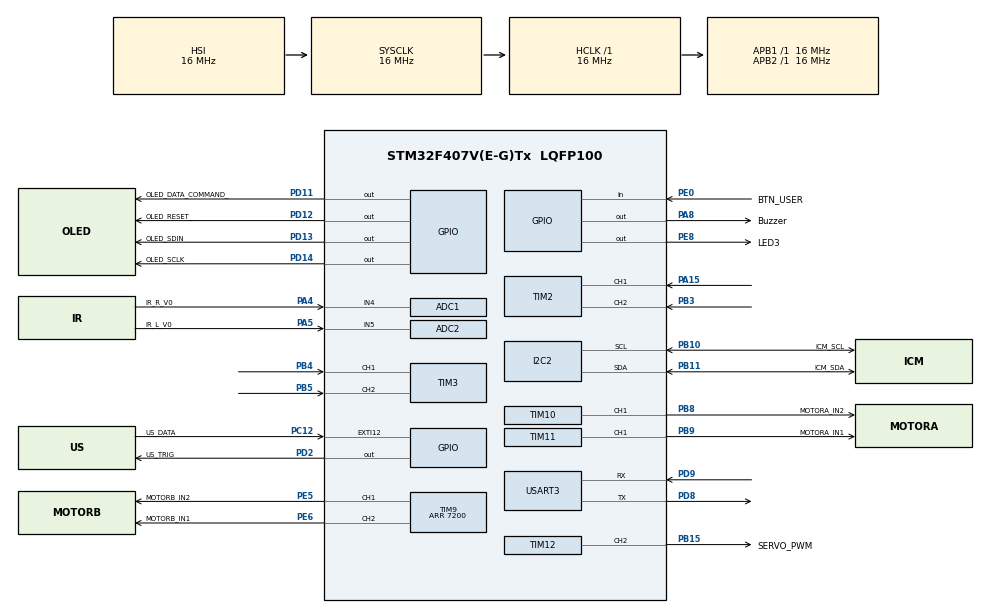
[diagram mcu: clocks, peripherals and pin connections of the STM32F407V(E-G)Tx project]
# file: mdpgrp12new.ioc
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ADC1.Channel-0\#ChannelRegularConversion=ADC_CHANNEL_4
ADC1.NbrOfConversionFlag=1
ADC1.Rank-0\#ChannelRegularConversion=1
ADC1.SamplingTime-0\#ChannelRegularConversion=ADC_SAMPLETIME_3CYCLES
ADC1.master=1
ADC2.Channel-0\#ChannelRegularConversion=ADC_CHANNEL_5
ADC2.NbrOfConversionFlag=1
ADC2.Rank-0\#ChannelRegularConversion=1
ADC2.SamplingTime-0\#ChannelRegularConversion=ADC_SAMPLETIME_3CYCLES
Mcu.Family=STM32F4
Mcu.Name=STM32F407V(E-G)Tx
Mcu.Package=LQFP100
NVIC.ADC_IRQn=true\:0\:0\:false\:false\:true\:true\:true\:true
NVIC.EXTI15_10_IRQn=true\:0\:0\:false\:false\:true\:true\:true\:true
NVIC.PriorityGroup=NVIC_PRIORITYGROUP_4
NVIC.TIM7_IRQn=true\:0\:0\:false\:false\:true\:true\:true\:true
NVIC.USART3_IRQn=true\:0\:0\:false\:false\:true\:true\:true\:true
PA13.Signal=SYS_JTMS-SWDIO
PA14.Signal=SYS_JTCK-SWCLK
PA15.Signal=S_TIM2_CH1_ETR
PA4.GPIO_Label=IR_R_V0
PA4.Signal=ADCx_IN4
PA5.GPIO_Label=IR_L_V0
PA5.Signal=ADCx_IN5
PA8.GPIO_Label=Buzzer
PA8.Signal=GPIO_Output
PB10.GPIO_Label=ICM_SCL
PB10.Mode=I2C
PB10.Signal=I2C2_SCL
PB11.GPIO_Label=ICM_SDA
PB11.Mode=I2C
PB11.Signal=I2C2_SDA
PB15.GPIO_Label=SERVO_PWM
PB15.GPIO_Speed=GPIO_SPEED_FREQ_HIGH
PB15.Signal=S_TIM12_CH2
PB3.Signal=S_TIM2_CH2
PB4.GPIO_PuPd=GPIO_PULLUP
PB4.GPIO_Speed=GPIO_SPEED_FREQ_HIGH
PB4.Signal=S_TIM3_CH1
PB5.GPIO_PuPd=GPIO_PULLUP
PB5.GPIO_Speed=GPIO_SPEED_FREQ_HIGH
PB5.Signal=S_TIM3_CH2
PB8.GPIO_Label=MOTORA_IN2
PB8.GPIO_Speed=GPIO_SPEED_FREQ_HIGH
PB8.Signal=S_TIM10_CH1
PB9.GPIO_Label=MOTORA_IN1
PB9.GPIO_Speed=GPIO_SPEED_FREQ_HIGH
PB9.Signal=S_TIM11_CH1
PC12.GPIO_Label=US_DATA
PC12.GPIO_ModeDefaultEXTI=GPIO_MODE_IT_RISING_FALLING
PC12.GPIO_PuPd=GPIO_PULLDOWN
PC12.Signal=GPXTI12
PD11.GPIO_Label=OLED_DATA_COMMAND_
PD11.Signal=GPIO_Output
PD12.GPIO_Label=OLED_RESET_
PD12.Signal=GPIO_Output
PD13.GPIO_Label=OLED_SDIN
PD13.Signal=GPIO_Output
PD14.GPIO_Label=OLED_SCLK
PD14.Signal=GPIO_Output
PD2.GPIO_Label=US_TRIG
PD2.Signal=GPIO_Output
PD8.GPIO_PuPd=GPIO_NOPULL
PD8.GPIO_Speed=GPIO_SPEED_FREQ_HIGH
PD8.Mode=Asynchronous
PD8.Signal=USART3_TX
PD9.GPIO_ModeDefaultPP=GPIO_MODE_AF_PP
PD9.GPIO_Speed=GPIO_SPEED_FREQ_HIGH
PD9.Mode=Asynchronous
PD9.Signal=USART3_RX
PE0.GPIO_Label=BTN_USER
PE0.Signal=GPIO_Input
PE5.GPIO_Label=MOTORB_IN2
PE5.GPIO_Speed=GPIO_SPEED_FREQ_HIGH
PE5.Signal=S_TIM9_CH1
PE6.GPIO_Label=MOTORB_IN1
PE6.GPIO_Speed=GPIO_SPEED_FREQ_HIGH
PE6.Signal=S_TIM9_CH2
PE8.GPIO_Label=LED3
PE8.Signal=GPIO_Output
PE9.Signal=S_TIM1_CH1
ProjectManager.HeapSize=0x200
ProjectManager.StackSize=0x400
ProjectManager.TargetToolchain=STM32CubeIDE
RCC.AHBFreq_Value=16000000
RCC.APB1Freq_Value=16000000
RCC.APB2Freq_Value=16000000
RCC.CortexFreq_Value=16000000
RCC.HSE_VALUE=25000000
RCC.HSI_VALUE=16000000
RCC.LSE_VALUE=32768
RCC.SYSCLKFreq_VALUE=16000000
RCC.VCOOutputFreq_Value=192000000
SH.ADCx_IN4.0=ADC1_IN4,IN4
SH.ADCx_IN5.0=ADC2_IN5,IN5
SH.S_TIM10_CH1.0=TIM10_CH1,PWM Generation1 CH1
SH.S_TIM11_CH1.0=TIM11_CH1,PWM Generation1 CH1
SH.S_TIM12_CH2.0=TIM12_CH2,PWM Generation2 CH2
SH.S_TIM1_CH1.0=TIM1_CH1
SH.S_TIM2_CH1_ETR.0=TIM2_CH1,Encoder_Interface
SH.S_TIM2_CH2.0=TIM2_CH2,Encoder_Interface
SH.S_TIM3_CH1.0=TIM3_CH1,Encoder_Interface
SH.S_TIM3_CH2.0=TIM3_CH2,Encoder_Interface
SH.S_TIM9_CH1.0=TIM9_CH1,PWM Generation1 CH1
SH.S_TIM9_CH2.0=TIM9_CH2,PWM Generation2 CH2
TIM1.AutoReloadPreload=TIM_AUTORELOAD_PRELOAD_ENABLE
TIM1.Period=1000
TIM1.Prescaler=16
TIM10.Channel=TIM_CHANNEL_1
TIM10.Period=7200
TIM11.Channel=TIM_CHANNEL_1
TIM11.Period=7200
TIM12.AutoReloadPreload=TIM_AUTORELOAD_PRELOAD_ENABLE
TIM12.Channel-PWM\ Generation2\ CH2=TIM_CHANNEL_2
TIM12.Period=65535
TIM12.Prescaler=4
TIM2.EncoderMode=TIM_ENCODERMODE_TI12
TIM2.IC1Filter=10
TIM2.IC2Filter=10
TIM2.IC2Polarity=TIM_ICPOLARITY_RISING
TIM3.EncoderMode=TIM_ENCODERMODE_TI12
TIM3.IC1Filter=10
TIM3.IC2Filter=10
TIM3.IC2Polarity=TIM_ICPOLARITY_FALLING
TIM9.Channel-PWM\ Generation1\ CH1=TIM_CHANNEL_1
TIM9.Channel-PWM\ Generation2\ CH2=TIM_CHANNEL_2
TIM9.Period=7200
USART3.VirtualMode=VM_ASYNC
VP_TIM10_VS_ClockSourceINT.Mode=Enable_Timer
VP_TIM11_VS_ClockSourceINT.Mode=Enable_Timer
VP_TIM12_VS_ClockSourceINT.Mode=Internal
VP_TIM1_VS_ClockSourceINT.Mode=Internal
VP_TIM6_VS_ClockSourceINT.Mode=Enable_Timer
VP_TIM7_VS_ClockSourceINT.Mode=Enable_Timer
VP_TIM9_VS_ClockSourceINT.Mode=Internal
board=custom

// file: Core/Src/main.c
/* USER CODE BEGIN Header */
/**
  ******************************************************************************
  * @file           : main.c
  * @brief          : Main program body
  ******************************************************************************
  * @attention
  *
  * Copyright (c) 2024 STMicroelectronics.
  * All rights reserved.
  *
  * This software is licensed under terms that can be found in the LICENSE file
  * in the root directory of this software component.
  * If no LICENSE file comes with this software, it is provided AS-IS.
  *
  ******************************************************************************
  */
/* USER CODE END Header */
#include "main.h"

/* USER CODE BEGIN Includes */
#include <stdlib.h>
#include <math.h>
#include "convert.h"
#include "commands.h"
#include "dist.h"
#include "angle.h"
#include "delay_us.h"
#include "oled.h"
#include "sensors.h"
#include "motor.h"
#include "servo.h"
#include "stdio.h"
#include "string.h"
#include "ICM20948_SelfTest.h"
#include "tim6_pulse_capt.h"
#include "sensor_test.h"
/* USER CODE END Includes */

/* USER CODE BEGIN PD */
//8MHz / 16000 = 2.0ms frame.
#define MS_FRAME 2.0f
#define SERIAL_BUF_SIZE 20
#define SERIAL_RING_SIZE 1000
#define DIST_DIFF_DEFAULT 50
#define BRAKE_SPEED 30
#define TICKS_ES_MAX 10
#define V_MAX_PHYS_CM_S   200.0f

#define A_BRAKE_CM_S2     120.0f   // effective decel when short-braking
#define TAU_LATENCY_S       0.08f  // loop + actuation latency
#define BRAKE_MARGIN_CM      2.0f  // safety buffer

// TEMP fix for odometry scale from your data; refine later in get_distance_cm()
#define ODOM_SCALE           1.00f
/* USER CODE END PD */

 ADC_HandleTypeDef hadc1;
ADC_HandleTypeDef hadc2;

I2C_HandleTypeDef hi2c2;

TIM_HandleTypeDef htim1;
TIM_HandleTypeDef htim2;
TIM_HandleTypeDef htim3;
TIM_HandleTypeDef htim6;
TIM_HandleTypeDef htim7;
TIM_HandleTypeDef htim9;
TIM_HandleTypeDef htim10;
TIM_HandleTypeDef htim11;
TIM_HandleTypeDef htim12;

UART_HandleTypeDef huart3;

/* USER CODE BEGIN PV */
//sensors variables.
Sensors sensors;
MagCalParams magCalParams;

//serial buffers.
volatile uint16_t ring_i = 0, track_i = 0;
uint16_t buf_i = 0;

uint8_t buf_serial[SERIAL_BUF_SIZE];
uint8_t ring_serial[SERIAL_RING_SIZE];

uint8_t rxByte;                    // GLOBAL 1-byte RX buffer
char    cmdBuf[64];
uint16_t cmdLen = 0;

volatile uint32_t rx_isr_hits = 0; // debug counter

//ultrasound pulse width measurement.
volatile uint8_t isRisingCaptured = 0;
volatile uint16_t usWrap = 0;
volatile uint32_t counter;
volatile float    usDist_raw_cm = 0.0f;
volatile uint16_t usStartTick6 = 0;

//straight line motion
static uint8_t speedPrimed = 0;
static uint8_t odomPrimed = 0;
static float   speedFilt   = 0.0f;
static float   speedRaw    = 0.0f;
float estDist     = 0.0f;   // moved out of main()
float estDistOld  = 0.0f;
//paced loop.
volatile uint8_t newTick = 0;
volatile uint32_t tim7_hits = 0;
/* USER CODE END PV */

void SystemClock_Config(void);
static void MX_GPIO_Init(void);
static void MX_USART3_UART_Init(void);
static void MX_TIM1_Init(void);
static void MX_TIM2_Init(void);
static void MX_TIM12_Init(void);
static void MX_ADC1_Init(void);
static void MX_ADC2_Init(void);
static void MX_I2C2_Init(void);
static void MX_TIM6_Init(void);
static void MX_TIM7_Init(void);
static void MX_TIM3_Init(void);
static void MX_TIM9_Init(void);
static void MX_TIM10_Init(void);
static void MX_TIM11_Init(void);

/* USER CODE BEGIN 0 */

//increment index in a ring.
static void serial_inc_ring(volatile uint16_t *i) {
	*i = (*i + 1) % SERIAL_RING_SIZE;
}

//serial in.
void HAL_UART_RxCpltCallback(UART_HandleTypeDef *huart)
{
    if (huart->Instance == USART3) {
    	ring_serial[ring_i] = rxByte;
        ring_i = (ring_i + 1) % SERIAL_RING_SIZE;
        rx_isr_hits++;  // debug: count ISR fires
        HAL_UART_Receive_IT(&huart3, &rxByte, 1); // re-arm
    }
}

/* --- Start: Timer Management --- */
void HAL_TIM_PeriodElapsedCallback(TIM_HandleTypeDef *htim) {
//	if (htim == &htim5) { //tim4
//		usWrap++;
//	}

	if (htim == &htim7) {
        tim7_hits++;
		newTick = 1;
	}
}

void HAL_TIM_IC_CaptureCallback(TIM_HandleTypeDef *htim) {
    //if (htim != &htim5) return;

    if (!isRisingCaptured) {
        // RISING
        usCaptureComplete = 0;
        usWrap = 0;                              // only if ARR=65535
        __HAL_TIM_SET_COUNTER(htim, 0);
        isRisingCaptured = 1;
        __HAL_TIM_SET_CAPTUREPOLARITY(htim, US_IC_CHANNEL, TIM_INPUTCHANNELPOLARITY_FALLING);
    } else {
        // FALLING
        uint32_t cnt = HAL_TIM_ReadCapturedValue(htim, US_IC_CHANNEL);
        cnt += (uint32_t)usWrap * 65536U;        // only if ARR=65535
        usPulse_us = cnt;                        // 1 tick = 1 µs (PSC=15 on 16 MHz)
        usDist_raw_cm = (float)usPulse_us / 58.0f;
        lastEchoMs = HAL_GetTick();
        usCaptureComplete = 1;

        // keep your filtered value too, but don't use it for stop threshold
        sensors_read_usDist((float)cnt * 1e-6f);

        isRisingCaptured = 0;
        __HAL_TIM_SET_CAPTUREPOLARITY(htim, US_IC_CHANNEL, TIM_INPUTCHANNELPOLARITY_RISING);

        usCaptureComplete = 1;
    }
}

void encoders_zero(void) {
    __HAL_TIM_SET_COUNTER(&htim2, 0);
    __HAL_TIM_SET_COUNTER(&htim3, 0);
}

void odom_reset_all(void) {
	encoders_zero();

	(void)motor_getDist();

    dist_reset(0.0f);

    estDist     = 0.0f;   // now writing the global
    estDistOld  = 0.0f;

    speedPrimed = 0;
    speedFilt   = 0.0f;
    speedRaw    = 0.0f;

    const char *msg = "ODOM_RESET\r\n";
    HAL_UART_Transmit(&huart3, (uint8_t*)msg, strlen(msg), 10);
}

void TIM6_Set1MHz(void)
{
  uint32_t timclk = HAL_RCC_GetPCLK1Freq();
  if ((RCC->CFGR & RCC_CFGR_PPRE1) != RCC_CFGR_PPRE1_DIV1) timclk *= 2U;

  uint32_t psc = (timclk / 1000000U) - 1U;

  __HAL_TIM_DISABLE(&htim6);
  __HAL_TIM_SET_PRESCALER(&htim6, (uint16_t)psc);
  __HAL_TIM_SET_AUTORELOAD(&htim6, 65535);
  __HAL_TIM_SET_COUNTER(&htim6, 0);
  __HAL_TIM_CLEAR_FLAG(&htim6, TIM_FLAG_UPDATE);
  __HAL_TIM_ENABLE(&htim6);
}

/* --- Start: Debug  --- */
void dump_tim8_regs(void)
{
    char buf[160];
    int n = snprintf(buf, sizeof(buf),
        "ARR=%lu CCR1=%lu CCR3=%lu BDTR=0x%08lX CCER=0x%08lX CR1=0x%08lX CCMR1=0x%08lX CCMR2=0x%08lX\r\n",
        TIM8->ARR, TIM8->CCR1, TIM8->CCR3, TIM8->BDTR, TIM8->CCER, TIM8->CR1, TIM8->CCMR1, TIM8->CCMR2);

    if (n > 0) {
        if (n > (int)sizeof(buf)) n = sizeof(buf);   // clamp just in case
        HAL_UART_Transmit(&huart3, (uint8_t*)buf, (uint16_t)n, 100);
    }
}

void test_gyro_raw(void) {
    float gz = 0;
    read_gyroZ(&gz);   // your low-level driver
    char buf[64];
    snprintf(buf, sizeof(buf), "gyroZ raw=%.2f dps\r\n", gz);
    HAL_UART_Transmit(&huart3, (uint8_t*)buf, strlen(buf), 10);
}

static inline int32_t enc_read_L(void) { return (int32_t)__HAL_TIM_GET_COUNTER(&htim2); }
static inline int32_t enc_read_R(void) { return (int32_t)__HAL_TIM_GET_COUNTER(&htim3); }
static inline void    enc_zero(void)   { __HAL_TIM_SET_COUNTER(&htim2, 0); __HAL_TIM_SET_COUNTER(&htim3, 0); }

static void print_enc_once(void) {
    char buf[96];
    int n = snprintf(buf, sizeof buf, "ENC L=%ld R=%ld\r\n",
                     (long)enc_read_L(), (long)enc_read_R());
    HAL_UART_Transmit(&huart3, (uint8_t*)buf, (uint16_t)n, 20);
}

/* --- End: Debug --- */

/* USER CODE END 0 */

int main(void)
{

  /* MCU Configuration--------------------------------------------------------*/

  /* Reset of all peripherals, Initializes the Flash interface and the Systick. */
  HAL_Init();

  /* Configure the system clock */
  SystemClock_Config();

  /* Initialize all configured peripherals */
  MX_GPIO_Init();
  MX_USART3_UART_Init();
  MX_TIM1_Init();
  MX_TIM2_Init();
  MX_TIM12_Init();
  MX_ADC1_Init();
  MX_ADC2_Init();
  MX_I2C2_Init();
  MX_TIM6_Init();
  MX_TIM7_Init();
  MX_TIM3_Init();
  MX_TIM9_Init();
  MX_TIM10_Init();
  MX_TIM11_Init();
  /* USER CODE BEGIN 2 */

  /* ----- Start: Initialize libraries ----- */
  OLED_Init();												//initialize OLED display.
  magcal_init(&hi2c2, &magCalParams);						//initialize magnetometer calibration.
  sensors_init(&hi2c2, &hadc1, &hadc2, &sensors); 	//initialize motion sensors.
  motor_init(&htim2, &htim3); 						//initialize motor PWM and encoders.
  servo_init(&htim12); 										//initialize servo PWM.
  delay_us_init(&htim6);									//initialize us timer.
  dist_init();												//initialize distance tracking.
  us_pulse_capture_init();
  TIM6_Set1MHz();
  /* ----- End: Initialize libraries ----- */

  /* ----- Start: Car setup ----- */
  //magcal_calc_params();

  //reset car.
  servo_setAngle(0);
  motor_setDrive(0, 0);

  OLED_ShowString(0, 0, "Press USER when ready...");
  OLED_Refresh_Gram();
  while (!user_is_pressed());	//wait for user to place car.
  HAL_Delay(500);
  OLED_Clear();
  OLED_ShowString(0, 0, "Calibrating...");
  OLED_Refresh_Gram();

  sensors_set_bias(500); 		// set initial bias.

  OLED_ShowString(0, 0, "Calibration done.");
  OLED_Refresh_Gram();

  /* ----- End: Car setup ----- */

  /* ----- Start: OS Parameters ----- */

  //ticking for longer timing requirements for ultrasound, and servo turning.
  uint8_t ticksElapsed = 0,
		  ticksUsElapsed = 0,
		  ticksUs = (uint8_t) (US_MIN_DELAY / MS_FRAME) + 1,
		  ticksServo = (uint8_t) (SERVO_TURN_PERIOD / MS_FRAME),
		  ticksServoFull = (uint8_t) (SERVO_TURN_PERIOD * SERVO_WIDTH / SERVO_TURN_STEP) / MS_FRAME,
		  ticksMotor = (uint8_t) (MOTOR_CORRECTION_PERIOD / MS_FRAME),
		  ticksRefresh = lcm_uint8(lcm_uint8(ticksUs, ticksServo), ticksMotor),
		  ticksDelay = ticksServoFull - 1;

  //ticking for error stabilization.
  uint8_t ticksES = 0;

  Command *cmd = NULL;							//current command.
  float steeringAngle = 0;						//current steering angle.
  float motorDist = 0,estAngle  = 0; 						//distance estimations.

  //for distance tracking (for use with INFO_DIST command).
  float distTrack = 0;
  volatile uint8_t shouldTrackDist = 0;

  float distTarget = 0;							//decide distance target.
  float distDiff = 0, brakingDist = 0; 			//current distance difference.
  float distDiffOld = 0;						//track old distance difference (to see if stationary).
  float wDiff = 0, wTarget = 0;					//current angular velocity difference and target.
  float rBack = 0, rRobot = 0;					//turning radii at the back and centre of robot.
  /* ----- End: OS Parameters ----- */

  /* ----- Start: Interrupts ----- */
  //HAL_UART_Receive_IT(&huart3, &ring_serial[ring_i], 1);	//start receiving serial.
  HAL_UART_Receive_IT(&huart3, &rxByte, 1);

  // 3) Start the timer *with* interrupt
  HAL_TIM_Base_Start_IT(&htim7); //start paced loop timer.
  // tim5 ic no longer used for ultrasonic (using exti on pc12)
  //HAL_TIM_Base_Start_IT(&htim5);                  // for update/overflow -> usWrap++
  // HAL_TIM_IC_Start_IT(&htim5, TIM_CHANNEL_1);     // for captures on CH1
  /* ----- End: Interrupts ----- */

  OLED_Clear();
  OLED_ShowString(0, 0, "Active.");
  OLED_Refresh_Gram();

  const char *alive = "ALIVE\r\n";
  HAL_UART_Transmit(&huart3, (uint8_t*)alive, strlen(alive), 10);

  //  	if (cmd == NULL && !(ticksElapsed % 50)) {
  //  	    uint32_t age_ms = HAL_GetTick() - lastEchoMs;  // how fresh the last echo is
  //  	    char line[120];
  //  	    int n = snprintf(line, sizeof line,
  //  	        "US | raw=%.1f cm | filt=%.1f cm | age=%lums | pulse=%lu us\r\n",
  //  	        usDist_raw_cm,          // from TIM5 capture ISR
  //  	        sensors.usDist,         // filtered distance
  //  	        (unsigned long)age_ms,
  //  	        (unsigned long)usPulse_us);
  //  	    HAL_UART_Transmit(&huart3, (uint8_t*)line, n, 10);
  //  	}

  /* USER CODE END 2 */

  /* Infinite loop */
  /* USER CODE BEGIN WHILE */

//  static uint32_t last_ms = 0;
//  while (1) {
//	  uint32_t now = HAL_GetTick();
//	  if (now - last_ms >= 1000) {
//	      last_ms = now;
//	      print_enc_once();  // turn either wheel by hand and watch R change
//	  }
//  }

  while (1)
      {
    /* USER CODE END WHILE */

    /* USER CODE BEGIN 3 */

    	/* ----- Start: Sensor reading ----- */
    	//trigger distance measurement.
    	if (!(ticksElapsed % ticksUs)) {
    		sensors_us_trig();
    	}

    	sensors_read_accel();
    	sensors_read_gyroZ();
    	sensors_read_irDist();

    	/* ----- End: Sensor reading ----- */

    	/* ----- Start: Get next command (if any) ----- */

    	// 0) Always drain ticksDelay if we're idle (no active cmd)
    	if (cmd == NULL && ticksDelay > 0) {
    	    ticksDelay--;
    	}

    	if (cmd == NULL) {
    	    // Peek at the ring buffer queue
    	    Command *peek = commands_peek();

    	    // 1) If delay done OR next thing is not a DRIVE, pop
    	    if (ticksDelay == 0 || (peek != NULL && peek->opType != DRIVE)) {

    	        cmd = commands_pop();
    	        if (cmd != NULL) {
    	            // ----- Command setup -----
    	            switch (cmd->opType) {
    	            case DRIVE:
    	                motor_setDrive(cmd->dir, cmd->speed);
    	                if (cmd->dir != 0) {
    	                    odom_reset_all();

    	                    distTarget  = cmd->val;
    	                    distDiff    = DIST_DIFF_DEFAULT;
    	                    brakingDist = (cmd->distType == TARGET
    	                                   ? MOTOR_BRAKING_DIST_CM_TARGET
    	                                   : MOTOR_BRAKING_DIST_CM_AWAY) * cmd->speed / 100.0f;

    	                    steeringAngle = cmd->steeringAngle;
    	                    servo_setAngle(steeringAngle);

    	                    if (steeringAngle != 0) {
    	                        rBack  = get_turning_r_back_cm(steeringAngle);
    	                        rRobot = get_turning_r_robot_cm(steeringAngle);
    	                        if (cmd->distType == TARGET) {
    	                            distTarget = abs_float(get_arc_length(cmd->val, rBack));
    	                        }
    	                    } else {
    	                        rBack = 0.0f; rRobot = 0.0f; wTarget = 0.0f;
    	                    }
    	                } else {
    	                    commands_end(&huart3, cmd);
    	                    cmd = NULL;
    	                }
    	                break;

    	            case INFO_DIST:
    	                shouldTrackDist = !shouldTrackDist;
    	                if (shouldTrackDist) {
    	                    distTrack = 0;
    	                } else {
    	                    free(cmd->str);
    	                    cmd->str_size = 9;
    	                    cmd->str = malloc(cmd->str_size);
    	                    snprintf(cmd->str, cmd->str_size, "D%6.2f\n", distTrack);
    	                }
    	                commands_end(&huart3, cmd);
    	                cmd = NULL;
    	                break;

    	            case INFO_MARKER:
    	                commands_end(&huart3, cmd);
    	                cmd = NULL;
    	                break;
    	            }
    	        }

    	    } else {
    	        // 2) Delay still running: optionally pre-position servo for the next DRIVE,
    	        //    but ALWAYS drain ticksDelay each loop regardless of queue state
    	        Command *nxt = commands_peek_next_drive();
    	        if (nxt != NULL) {
    	            servo_setAngle(nxt->steeringAngle);
    	        }
    	        if (ticksDelay > 0) ticksDelay--;
    	    }
    	}
    	/* ----- End: Get next command (if any) ----- */

    	/* ----- Start: Command Control Loop ----- */
    		if (cmd != NULL && cmd->dir != 0) {
    			//reset the values
    			if (!odomPrimed) {
    			    (void)motor_getDist();   // consume any residual delta
    			    dist_reset(0.0f);
    			    estDist = estDistOld = 0.0f;
    			    speedPrimed = 0;
    			    speedFilt = speedRaw = 0.0f;
    				odomPrimed = 1;
    			}

    			// --- Distance & speed (do NOT multiply position by cmd->dir) ---
    			motorDist = motor_getDist();
    			float pos_cm = ODOM_SCALE*dist_get_cm(MS_FRAME, sensors.accel[1], motorDist); // cumulative since dist_reset
    			estDist      = pos_cm;

    			float dt = MS_FRAME * 0.001f;              // seconds
    			float delta = estDist - estDistOld;         // cm
    			float vInst = speedPrimed ? (delta / dt) : 0.0f;  // first tick = 0
    			if (!speedPrimed) { speedPrimed = 1; vInst = 0.0f; }

    			// Kill impossible spikes from residual jumps (e.g., after command transition)
    			if (fabsf(vInst) > V_MAX_PHYS_CM_S) vInst = 0.0f;

    			// Low-pass filter (tune 0.3 .. 0.6 as you like)
    			speedFilt = 0.4f * vInst + 0.6f * speedFilt;

    			float vabs = fabsf(speedFilt);
    			brakingDist = (vabs*vabs)/(2.0f*A_BRAKE_CM_S2) + vabs*TAU_LATENCY_S + BRAKE_MARGIN_CM;
    			if (brakingDist < 0.0f) brakingDist = 0.0f;

    			float maxBD = 0.25f * fabsf(distDiff);
    			if (brakingDist > maxBD) brakingDist = maxBD;

    			// Telemetry (just while tuning)
//    			if (!(ticksElapsed % 50)) {
//    			    char ln[96];
//    			    int n = snprintf(ln, sizeof ln, "bd=%.2f d=%.2f v=%.2f\r\n", brakingDist, distDiff, speedFilt);
//    			    HAL_UART_Transmit(&huart3, (uint8_t*)ln, n, 1);
//    			}

    			// Keep for telemetry if you want to see both
    			speedRaw   = vInst;     // only for printing
    			estDistOld = estDist;   // move reference

    			// declare estSpeed *locally* and use it below
    			float estSpeed = speedFilt;

    			//calculate difference in angular velocity.
    			float wGyro;
    			wGyro = cmd->dir * sensors.gyroZ;

    			if (rBack != 0) {
    				wTarget = get_w_ms(estSpeed, rBack);
    			} else wTarget = 0;
    			wDiff = (wGyro - wTarget); //gyro is flipped when going backwards.

    			float angleChange = wGyro * MS_FRAME;
    			if (cmd->steeringAngle < 0) angleChange = -angleChange;
    			estAngle += angleChange;

    			distDiffOld = distDiff;
    			switch (cmd->distType) {
    		        case TARGET:
    		              float path_mag = fabsf(estDist);
    		              distDiff = distTarget - path_mag;
    		            break;
    				case STOP_AWAY:
    					if (usCaptureComplete) {
    						distDiff = (sensors.usDist - cmd->val) * cmd->dir;
    					}
    					break;
    				case STOP_L:
    				case STOP_R:
    					uint8_t i = cmd->distType == STOP_L ? 0 : 1;
    					float irVal = sensors.irDist[i];
    					float cmdVal = cmd->val;
    					if (cmdVal < 0) {
    						cmdVal = -cmdVal;
    						distDiff = irVal > cmdVal ? DIST_DIFF_DEFAULT : 0;
    					} else {
    						distDiff = irVal < cmdVal ? DIST_DIFF_DEFAULT : 0;
    					}
    					break;
    				default:
    					distDiff = DIST_DIFF_DEFAULT;
    					break;
    			}

    			//checking for target motion
    			if (!(ticksElapsed % 100)) {
    			    char line[128];
    			    int n = snprintf(line, sizeof line,
    			        "pos=%.2fcm | v=%.2fcm/s (raw=%.2f) | target=%.2f | d=%.2f | primed=%u\r\n",
    			        estDist, estSpeed, speedRaw, distTarget, distDiff, (unsigned)speedPrimed);
    			    HAL_UART_Transmit(&huart3, (uint8_t*)line, n, 10);
    			}

    			Command *next = commands_peek();
    			if (next != NULL && next->opType == DRIVE && commands_type_match(cmd, next)) {
    				//absorb next command into current command.
    				next = commands_pop();

    				switch (next->distType) {
    					case TARGET:
    						cmd->val += next->val;
    						break;
    					case STOP_AWAY:
    					case STOP_L:
    					case STOP_R:
    						cmd->val = next->val;
    						break;
    				}

    				commands_end(&huart3, next);
    			}

    			next = commands_peek_next_drive();
    			float nextAngle = next != NULL ? next->steeringAngle : 0;
    			float nextAngleDiff = abs_float(nextAngle - cmd->steeringAngle);
    			uint8_t shouldBrake = cmd->distType == STOP_AWAY
    					? 1
    					: next != NULL
    					? next->dir != cmd->dir
    	//					|| next->dir < 0 //avoid smooth turning while reversing.
    						|| nextAngleDiff > SERVO_WIDTH			//too large a turn.
    						|| nextAngle * cmd->steeringAngle < 0	//opposite direction.
    					: 1;
    			uint8_t turnSpeed = next != NULL ? min_uint8(BRAKE_SPEED, next->speed) : BRAKE_SPEED;

    			//motor correction.
//    			 motor_pwmCorrection(wDiff, rBack, distDiff, brakingDist, cmd->distType,
//    			                            shouldBrake ? 0 : turnSpeed);

    			 motor_pwmCorrection(wDiff, rBack, distDiff, brakingDist, cmd->distType,
    			                     /*new*/ cmd->speed);

    			float timeLeft = (fabsf(speedFilt) > 1e-3f)? (fabsf(distDiff) / fabsf(speedFilt)): 1e10f;

    			uint8_t shouldEnd = 0;
    			if (!shouldBrake && !(ticksElapsed % ticksServo)) {
    				//turn a small angle every SERVO_TURN_PERIOD ms.
    				float diff = abs_float(nextAngle - steeringAngle);

    				if (timeLeft < (SERVO_TURN_PERIOD) * (diff / SERVO_TURN_STEP)) {
    					//should increment.
    					float step = min_float(SERVO_TURN_STEP, diff);
    					if (nextAngle < steeringAngle) step = -step;
    					steeringAngle += step;
    					servo_setAngle(steeringAngle);

    					if (diff < SERVO_TURN_STEP) {
    						shouldEnd = 1;
    					}
    				}
    			}

    			float absDistDiff = abs_float(distDiff),
    					absDistDiffChange = abs_float(distDiff - distDiffOld);
    			uint8_t shouldTick = (shouldBrake
    					&& absDistDiff < 1 && absDistDiffChange < 0.2)	//no change in motion.
    					|| absDistDiff < 0.05;								//error threshold satisfied.
    			ticksES = shouldTick ? ticksES + 1 : 0;

    			shouldEnd |= ticksES >= TICKS_ES_MAX	//minimum error threshold ticks met.
    						|| distDiff < -0.5; 		//prevent overshoot.

    			if (shouldEnd) {
    			    ticksES = 0;
    			    commands_end(&huart3, cmd);
    			    cmd = NULL;

    			    servo_setAngle(nextAngle);

    			    // (you can keep your ticksDelay logic)
    			    if (shouldBrake) {
    			        ticksDelay = (SERVO_TURN_PERIOD / MS_FRAME) *
    			                     (abs_float(nextAngle - steeringAngle) / SERVO_TURN_STEP) + 15;

    	    			brakeMotors();
    			    }

    			    // --- unify odometry reset for next command ---
    			  // --- prepare for next command ---
    			  odom_reset_all();

    			    if (shouldTrackDist) distTrack += fabsf(estDist);  // (optional) track magnitude
    			}
    		}
    	/* ----- End: Command Control Loop ----- */

    	/* ----- Start: Paced Loop Control ----- */
    	while (!newTick) {									//wait for new tick.
    		/* ----- Start: Process Ring Buffer ----- */
    		/* We use the down time for paced looping to process commands. */
    		if (track_i != ring_i) {
    			uint8_t c = ring_serial[track_i];
    			buf_serial[buf_i++] = c;
    			if (c == CMD_END) {
    				uint8_t *temp = buf_serial;
    //				float angle = parse_float_until(&temp, CMD_END, 4);
    //				servo_setAngle(angle);
    				if (c == '\n' || c == '\r') {
    				    commands_process(&huart3, buf_serial, buf_i);
    				    buf_i = 0;
    				}
    			}

    			serial_inc_ring(&track_i);
    		}
    		/* ----- End: Process Ring Buffer ----- */
    	}
    	newTick = 0;										//acknowledge flag.

    	ticksElapsed = (ticksElapsed + 1) % ticksRefresh;	//refresh tick count.
    	/* ----- End: Paced Loop Control ----- */
      }
  /* USER CODE END 3 */
}

void SystemClock_Config(void)
{
  RCC_OscInitTypeDef RCC_OscInitStruct = {0};
  RCC_ClkInitTypeDef RCC_ClkInitStruct = {0};

  /** Configure the main internal regulator output voltage
  */
  __HAL_RCC_PWR_CLK_ENABLE();
  __HAL_PWR_VOLTAGESCALING_CONFIG(PWR_REGULATOR_VOLTAGE_SCALE1);

  /** Initializes the RCC Oscillators according to the specified parameters
  * in the RCC_OscInitTypeDef structure.
  */
  RCC_OscInitStruct.OscillatorType = RCC_OSCILLATORTYPE_HSI;
  RCC_OscInitStruct.HSIState = RCC_HSI_ON;
  RCC_OscInitStruct.HSICalibrationValue = RCC_HSICALIBRATION_DEFAULT;
  RCC_OscInitStruct.PLL.PLLState = RCC_PLL_NONE;
  if (HAL_RCC_OscConfig(&RCC_OscInitStruct) != HAL_OK)
  {
    Error_Handler();
  }

  /** Initializes the CPU, AHB and APB buses clocks
  */
  RCC_ClkInitStruct.ClockType = RCC_CLOCKTYPE_HCLK|RCC_CLOCKTYPE_SYSCLK
                              |RCC_CLOCKTYPE_PCLK1|RCC_CLOCKTYPE_PCLK2;
  RCC_ClkInitStruct.SYSCLKSource = RCC_SYSCLKSOURCE_HSI;
  RCC_ClkInitStruct.AHBCLKDivider = RCC_SYSCLK_DIV1;
  RCC_ClkInitStruct.APB1CLKDivider = RCC_HCLK_DIV1;
  RCC_ClkInitStruct.APB2CLKDivider = RCC_HCLK_DIV1;

  if (HAL_RCC_ClockConfig(&RCC_ClkInitStruct, FLASH_LATENCY_0) != HAL_OK)
  {
    Error_Handler();
  }
}

static void MX_ADC1_Init(void)
{

  ADC_ChannelConfTypeDef sConfig = {0};

  /** Configure the global features of the ADC (Clock, Resolution, Data Alignment and number of conversion)
  */
  hadc1.Instance = ADC1;
  hadc1.Init.ClockPrescaler = ADC_CLOCK_SYNC_PCLK_DIV2;
  hadc1.Init.Resolution = ADC_RESOLUTION_12B;
  hadc1.Init.ScanConvMode = DISABLE;
  hadc1.Init.ContinuousConvMode = DISABLE;
  hadc1.Init.DiscontinuousConvMode = DISABLE;
  hadc1.Init.ExternalTrigConvEdge = ADC_EXTERNALTRIGCONVEDGE_NONE;
  hadc1.Init.ExternalTrigConv = ADC_SOFTWARE_START;
  hadc1.Init.DataAlign = ADC_DATAALIGN_RIGHT;
  hadc1.Init.NbrOfConversion = 1;
  hadc1.Init.DMAContinuousRequests = DISABLE;
  hadc1.Init.EOCSelection = ADC_EOC_SINGLE_CONV;
  if (HAL_ADC_Init(&hadc1) != HAL_OK)
  {
    Error_Handler();
  }

  /** Configure for the selected ADC regular channel its corresponding rank in the sequencer and its sample time.
  */
  sConfig.Channel = ADC_CHANNEL_4;
  sConfig.Rank = 1;
  sConfig.SamplingTime = ADC_SAMPLETIME_3CYCLES;
  if (HAL_ADC_ConfigChannel(&hadc1, &sConfig) != HAL_OK)
  {
    Error_Handler();
  }

}

static void MX_ADC2_Init(void)
{

  ADC_ChannelConfTypeDef sConfig = {0};

  /** Configure the global features of the ADC (Clock, Resolution, Data Alignment and number of conversion)
  */
  hadc2.Instance = ADC2;
  hadc2.Init.ClockPrescaler = ADC_CLOCK_SYNC_PCLK_DIV2;
  hadc2.Init.Resolution = ADC_RESOLUTION_12B;
  hadc2.Init.ScanConvMode = DISABLE;
  hadc2.Init.ContinuousConvMode = DISABLE;
  hadc2.Init.DiscontinuousConvMode = DISABLE;
  hadc2.Init.ExternalTrigConvEdge = ADC_EXTERNALTRIGCONVEDGE_NONE;
  hadc2.Init.ExternalTrigConv = ADC_SOFTWARE_START;
  hadc2.Init.DataAlign = ADC_DATAALIGN_RIGHT;
  hadc2.Init.NbrOfConversion = 1;
  hadc2.Init.DMAContinuousRequests = DISABLE;
  hadc2.Init.EOCSelection = ADC_EOC_SINGLE_CONV;
  if (HAL_ADC_Init(&hadc2) != HAL_OK)
  {
    Error_Handler();
  }

  /** Configure for the selected ADC regular channel its corresponding rank in the sequencer and its sample time.
  */
  sConfig.Channel = ADC_CHANNEL_5;
  sConfig.Rank = 1;
  sConfig.SamplingTime = ADC_SAMPLETIME_3CYCLES;
  if (HAL_ADC_ConfigChannel(&hadc2, &sConfig) != HAL_OK)
  {
    Error_Handler();
  }

}

static void MX_I2C2_Init(void)
{

  hi2c2.Instance = I2C2;
  hi2c2.Init.ClockSpeed = 100000;
  hi2c2.Init.DutyCycle = I2C_DUTYCYCLE_2;
  hi2c2.Init.OwnAddress1 = 0;
  hi2c2.Init.AddressingMode = I2C_ADDRESSINGMODE_7BIT;
  hi2c2.Init.DualAddressMode = I2C_DUALADDRESS_DISABLE;
  hi2c2.Init.OwnAddress2 = 0;
  hi2c2.Init.GeneralCallMode = I2C_GENERALCALL_DISABLE;
  hi2c2.Init.NoStretchMode = I2C_NOSTRETCH_DISABLE;
  if (HAL_I2C_Init(&hi2c2) != HAL_OK)
  {
    Error_Handler();
  }

}

static void MX_TIM1_Init(void)
{

  TIM_ClockConfigTypeDef sClockSourceConfig = {0};
  TIM_MasterConfigTypeDef sMasterConfig = {0};

  htim1.Instance = TIM1;
  htim1.Init.Prescaler = 16;
  htim1.Init.CounterMode = TIM_COUNTERMODE_UP;
  htim1.Init.Period = 1000;
  htim1.Init.ClockDivision = TIM_CLOCKDIVISION_DIV1;
  htim1.Init.RepetitionCounter = 0;
  htim1.Init.AutoReloadPreload = TIM_AUTORELOAD_PRELOAD_ENABLE;
  if (HAL_TIM_Base_Init(&htim1) != HAL_OK)
  {
    Error_Handler();
  }
  sClockSourceConfig.ClockSource = TIM_CLOCKSOURCE_INTERNAL;
  if (HAL_TIM_ConfigClockSource(&htim1, &sClockSourceConfig) != HAL_OK)
  {
    Error_Handler();
  }
  sMasterConfig.MasterOutputTrigger = TIM_TRGO_RESET;
  sMasterConfig.MasterSlaveMode = TIM_MASTERSLAVEMODE_DISABLE;
  if (HAL_TIMEx_MasterConfigSynchronization(&htim1, &sMasterConfig) != HAL_OK)
  {
    Error_Handler();
  }

}

static void MX_TIM2_Init(void)
{

  TIM_Encoder_InitTypeDef sConfig = {0};
  TIM_MasterConfigTypeDef sMasterConfig = {0};

  htim2.Instance = TIM2;
  htim2.Init.Prescaler = 0;
  htim2.Init.CounterMode = TIM_COUNTERMODE_UP;
  htim2.Init.Period = 4294967295;
  htim2.Init.ClockDivision = TIM_CLOCKDIVISION_DIV1;
  htim2.Init.AutoReloadPreload = TIM_AUTORELOAD_PRELOAD_DISABLE;
  sConfig.EncoderMode = TIM_ENCODERMODE_TI12;
  sConfig.IC1Polarity = TIM_ICPOLARITY_RISING;
  sConfig.IC1Selection = TIM_ICSELECTION_DIRECTTI;
  sConfig.IC1Prescaler = TIM_ICPSC_DIV1;
  sConfig.IC1Filter = 10;
  sConfig.IC2Polarity = TIM_ICPOLARITY_FALLING;
  sConfig.IC2Selection = TIM_ICSELECTION_DIRECTTI;
  sConfig.IC2Prescaler = TIM_ICPSC_DIV1;
  sConfig.IC2Filter = 10;
  if (HAL_TIM_Encoder_Init(&htim2, &sConfig) != HAL_OK)
  {
    Error_Handler();
  }
  sMasterConfig.MasterOutputTrigger = TIM_TRGO_RESET;
  sMasterConfig.MasterSlaveMode = TIM_MASTERSLAVEMODE_DISABLE;
  if (HAL_TIMEx_MasterConfigSynchronization(&htim2, &sMasterConfig) != HAL_OK)
  {
    Error_Handler();
  }

}

static void MX_TIM3_Init(void)
{

  TIM_Encoder_InitTypeDef sConfig = {0};
  TIM_MasterConfigTypeDef sMasterConfig = {0};

  htim3.Instance = TIM3;
  htim3.Init.Prescaler = 0;
  htim3.Init.CounterMode = TIM_COUNTERMODE_UP;
  htim3.Init.Period = 65535;
  htim3.Init.ClockDivision = TIM_CLOCKDIVISION_DIV1;
  htim3.Init.AutoReloadPreload = TIM_AUTORELOAD_PRELOAD_DISABLE;
  sConfig.EncoderMode = TIM_ENCODERMODE_TI12;
  sConfig.IC1Polarity = TIM_ICPOLARITY_RISING;
  sConfig.IC1Selection = TIM_ICSELECTION_DIRECTTI;
  sConfig.IC1Prescaler = TIM_ICPSC_DIV1;
  sConfig.IC1Filter = 10;
  sConfig.IC2Polarity = TIM_ICPOLARITY_FALLING;
  sConfig.IC2Selection = TIM_ICSELECTION_DIRECTTI;
  sConfig.IC2Prescaler = TIM_ICPSC_DIV1;
  sConfig.IC2Filter = 10;
  if (HAL_TIM_Encoder_Init(&htim3, &sConfig) != HAL_OK)
  {
    Error_Handler();
  }
  sMasterConfig.MasterOutputTrigger = TIM_TRGO_RESET;
  sMasterConfig.MasterSlaveMode = TIM_MASTERSLAVEMODE_DISABLE;
  if (HAL_TIMEx_MasterConfigSynchronization(&htim3, &sMasterConfig) != HAL_OK)
  {
    Error_Handler();
  }

}

static void MX_TIM6_Init(void)
{

  TIM_MasterConfigTypeDef sMasterConfig = {0};

  htim6.Instance = TIM6;
  htim6.Init.Prescaler = 0;
  htim6.Init.CounterMode = TIM_COUNTERMODE_UP;
  htim6.Init.Period = 65535;
  htim6.Init.AutoReloadPreload = TIM_AUTORELOAD_PRELOAD_DISABLE;
  if (HAL_TIM_Base_Init(&htim6) != HAL_OK)
  {
    Error_Handler();
  }
  sMasterConfig.MasterOutputTrigger = TIM_TRGO_RESET;
  sMasterConfig.MasterSlaveMode = TIM_MASTERSLAVEMODE_DISABLE;
  if (HAL_TIMEx_MasterConfigSynchronization(&htim6, &sMasterConfig) != HAL_OK)
  {
    Error_Handler();
  }

}

static void MX_TIM7_Init(void)
{

  TIM_MasterConfigTypeDef sMasterConfig = {0};

  htim7.Instance = TIM7;
  htim7.Init.Prescaler = 0;
  htim7.Init.CounterMode = TIM_COUNTERMODE_UP;
  htim7.Init.Period = 65535;
  htim7.Init.AutoReloadPreload = TIM_AUTORELOAD_PRELOAD_DISABLE;
  if (HAL_TIM_Base_Init(&htim7) != HAL_OK)
  {
    Error_Handler();
  }
  sMasterConfig.MasterOutputTrigger = TIM_TRGO_RESET;
  sMasterConfig.MasterSlaveMode = TIM_MASTERSLAVEMODE_DISABLE;
  if (HAL_TIMEx_MasterConfigSynchronization(&htim7, &sMasterConfig) != HAL_OK)
  {
    Error_Handler();
  }

}

static void MX_TIM9_Init(void)
{

  TIM_ClockConfigTypeDef sClockSourceConfig = {0};
  TIM_OC_InitTypeDef sConfigOC = {0};

  htim9.Instance = TIM9;
  htim9.Init.Prescaler = 0;
  htim9.Init.CounterMode = TIM_COUNTERMODE_UP;
  htim9.Init.Period = 7200;
  htim9.Init.ClockDivision = TIM_CLOCKDIVISION_DIV1;
  htim9.Init.AutoReloadPreload = TIM_AUTORELOAD_PRELOAD_DISABLE;
  if (HAL_TIM_Base_Init(&htim9) != HAL_OK)
  {
    Error_Handler();
  }
  sClockSourceConfig.ClockSource = TIM_CLOCKSOURCE_INTERNAL;
  if (HAL_TIM_ConfigClockSource(&htim9, &sClockSourceConfig) != HAL_OK)
  {
    Error_Handler();
  }
  if (HAL_TIM_PWM_Init(&htim9) != HAL_OK)
  {
    Error_Handler();
  }
  sConfigOC.OCMode = TIM_OCMODE_PWM1;
  sConfigOC.Pulse = 0;
  sConfigOC.OCPolarity = TIM_OCPOLARITY_HIGH;
  sConfigOC.OCFastMode = TIM_OCFAST_DISABLE;
  if (HAL_TIM_PWM_ConfigChannel(&htim9, &sConfigOC, TIM_CHANNEL_1) != HAL_OK)
  {
    Error_Handler();
  }
  if (HAL_TIM_PWM_ConfigChannel(&htim9, &sConfigOC, TIM_CHANNEL_2) != HAL_OK)
  {
    Error_Handler();
  }
  HAL_TIM_MspPostInit(&htim9);

}

static void MX_TIM10_Init(void)
{

  TIM_OC_InitTypeDef sConfigOC = {0};

  htim10.Instance = TIM10;
  htim10.Init.Prescaler = 0;
  htim10.Init.CounterMode = TIM_COUNTERMODE_UP;
  htim10.Init.Period = 7200;
  htim10.Init.ClockDivision = TIM_CLOCKDIVISION_DIV1;
  htim10.Init.AutoReloadPreload = TIM_AUTORELOAD_PRELOAD_DISABLE;
  if (HAL_TIM_Base_Init(&htim10) != HAL_OK)
  {
    Error_Handler();
  }
  if (HAL_TIM_PWM_Init(&htim10) != HAL_OK)
  {
    Error_Handler();
  }
  sConfigOC.OCMode = TIM_OCMODE_PWM1;
  sConfigOC.Pulse = 0;
  sConfigOC.OCPolarity = TIM_OCPOLARITY_HIGH;
  sConfigOC.OCFastMode = TIM_OCFAST_DISABLE;
  if (HAL_TIM_PWM_ConfigChannel(&htim10, &sConfigOC, TIM_CHANNEL_1) != HAL_OK)
  {
    Error_Handler();
  }
  HAL_TIM_MspPostInit(&htim10);

}

static void MX_TIM11_Init(void)
{

  TIM_OC_InitTypeDef sConfigOC = {0};

  htim11.Instance = TIM11;
  htim11.Init.Prescaler = 0;
  htim11.Init.CounterMode = TIM_COUNTERMODE_UP;
  htim11.Init.Period = 7200;
  htim11.Init.ClockDivision = TIM_CLOCKDIVISION_DIV1;
  htim11.Init.AutoReloadPreload = TIM_AUTORELOAD_PRELOAD_DISABLE;
  if (HAL_TIM_Base_Init(&htim11) != HAL_OK)
  {
    Error_Handler();
  }
  if (HAL_TIM_PWM_Init(&htim11) != HAL_OK)
  {
    Error_Handler();
  }
  sConfigOC.OCMode = TIM_OCMODE_PWM1;
  sConfigOC.Pulse = 0;
  sConfigOC.OCPolarity = TIM_OCPOLARITY_HIGH;
  sConfigOC.OCFastMode = TIM_OCFAST_DISABLE;
  if (HAL_TIM_PWM_ConfigChannel(&htim11, &sConfigOC, TIM_CHANNEL_1) != HAL_OK)
  {
    Error_Handler();
  }
  HAL_TIM_MspPostInit(&htim11);

}

static void MX_TIM12_Init(void)
{

  TIM_ClockConfigTypeDef sClockSourceConfig = {0};
  TIM_OC_InitTypeDef sConfigOC = {0};

  htim12.Instance = TIM12;
  htim12.Init.Prescaler = 4;
  htim12.Init.CounterMode = TIM_COUNTERMODE_UP;
  htim12.Init.Period = 65535;
  htim12.Init.ClockDivision = TIM_CLOCKDIVISION_DIV1;
  htim12.Init.AutoReloadPreload = TIM_AUTORELOAD_PRELOAD_ENABLE;
  if (HAL_TIM_Base_Init(&htim12) != HAL_OK)
  {
    Error_Handler();
  }
  sClockSourceConfig.ClockSource = TIM_CLOCKSOURCE_INTERNAL;
  if (HAL_TIM_ConfigClockSource(&htim12, &sClockSourceConfig) != HAL_OK)
  {
    Error_Handler();
  }
  if (HAL_TIM_PWM_Init(&htim12) != HAL_OK)
  {
    Error_Handler();
  }
  sConfigOC.OCMode = TIM_OCMODE_PWM1;
  sConfigOC.Pulse = 0;
  sConfigOC.OCPolarity = TIM_OCPOLARITY_HIGH;
  sConfigOC.OCFastMode = TIM_OCFAST_DISABLE;
  if (HAL_TIM_PWM_ConfigChannel(&htim12, &sConfigOC, TIM_CHANNEL_2) != HAL_OK)
  {
    Error_Handler();
  }
  HAL_TIM_MspPostInit(&htim12);

}

static void MX_USART3_UART_Init(void)
{

  huart3.Instance = USART3;
  huart3.Init.BaudRate = 115200;
  huart3.Init.WordLength = UART_WORDLENGTH_8B;
  huart3.Init.StopBits = UART_STOPBITS_1;
  huart3.Init.Parity = UART_PARITY_NONE;
  huart3.Init.Mode = UART_MODE_TX_RX;
  huart3.Init.HwFlowCtl = UART_HWCONTROL_NONE;
  huart3.Init.OverSampling = UART_OVERSAMPLING_16;
  if (HAL_UART_Init(&huart3) != HAL_OK)
  {
    Error_Handler();
  }

}

static void MX_GPIO_Init(void)
{
  GPIO_InitTypeDef GPIO_InitStruct = {0};

  /* GPIO Ports Clock Enable */
  __HAL_RCC_GPIOE_CLK_ENABLE();
  __HAL_RCC_GPIOA_CLK_ENABLE();
  __HAL_RCC_GPIOB_CLK_ENABLE();
  __HAL_RCC_GPIOD_CLK_ENABLE();
  __HAL_RCC_GPIOC_CLK_ENABLE();

  /*Configure GPIO pin Output Level */
  HAL_GPIO_WritePin(LED3_GPIO_Port, LED3_Pin, GPIO_PIN_RESET);

  /*Configure GPIO pin Output Level */
  HAL_GPIO_WritePin(GPIOD, OLED_DATA_COMMAND__Pin|OLED_RESET__Pin|OLED_SDIN_Pin|OLED_SCLK_Pin
                          |US_TRIG_Pin, GPIO_PIN_RESET);

  /*Configure GPIO pin Output Level */
  HAL_GPIO_WritePin(Buzzer_GPIO_Port, Buzzer_Pin, GPIO_PIN_RESET);

  /*Configure GPIO pin : LED3_Pin */
  GPIO_InitStruct.Pin = LED3_Pin;
  GPIO_InitStruct.Mode = GPIO_MODE_OUTPUT_PP;
  GPIO_InitStruct.Pull = GPIO_NOPULL;
  GPIO_InitStruct.Speed = GPIO_SPEED_FREQ_LOW;
  HAL_GPIO_Init(LED3_GPIO_Port, &GPIO_InitStruct);

  /*Configure GPIO pins : OLED_DATA_COMMAND__Pin OLED_RESET__Pin OLED_SDIN_Pin OLED_SCLK_Pin
                           US_TRIG_Pin */
  GPIO_InitStruct.Pin = OLED_DATA_COMMAND__Pin|OLED_RESET__Pin|OLED_SDIN_Pin|OLED_SCLK_Pin
                          |US_TRIG_Pin;
  GPIO_InitStruct.Mode = GPIO_MODE_OUTPUT_PP;
  GPIO_InitStruct.Pull = GPIO_NOPULL;
  GPIO_InitStruct.Speed = GPIO_SPEED_FREQ_LOW;
  HAL_GPIO_Init(GPIOD, &GPIO_InitStruct);

  /*Configure GPIO pin : Buzzer_Pin */
  GPIO_InitStruct.Pin = Buzzer_Pin;
  GPIO_InitStruct.Mode = GPIO_MODE_OUTPUT_PP;
  GPIO_InitStruct.Pull = GPIO_NOPULL;
  GPIO_InitStruct.Speed = GPIO_SPEED_FREQ_LOW;
  HAL_GPIO_Init(Buzzer_GPIO_Port, &GPIO_InitStruct);

  /*Configure GPIO pin : US_DATA_Pin */
  GPIO_InitStruct.Pin = US_DATA_Pin;
  GPIO_InitStruct.Mode = GPIO_MODE_IT_RISING_FALLING;
  GPIO_InitStruct.Pull = GPIO_PULLDOWN;
  HAL_GPIO_Init(US_DATA_GPIO_Port, &GPIO_InitStruct);

  /*Configure GPIO pin : BTN_USER_Pin */
  GPIO_InitStruct.Pin = BTN_USER_Pin;
  GPIO_InitStruct.Mode = GPIO_MODE_INPUT;
  GPIO_InitStruct.Pull = GPIO_NOPULL;
  HAL_GPIO_Init(BTN_USER_GPIO_Port, &GPIO_InitStruct);

  /* EXTI interrupt init*/
  HAL_NVIC_SetPriority(EXTI15_10_IRQn, 0, 0);
  HAL_NVIC_EnableIRQ(EXTI15_10_IRQn);

}

void Error_Handler(void)
{
  __disable_irq();
  while (1)
  {
  }
}
